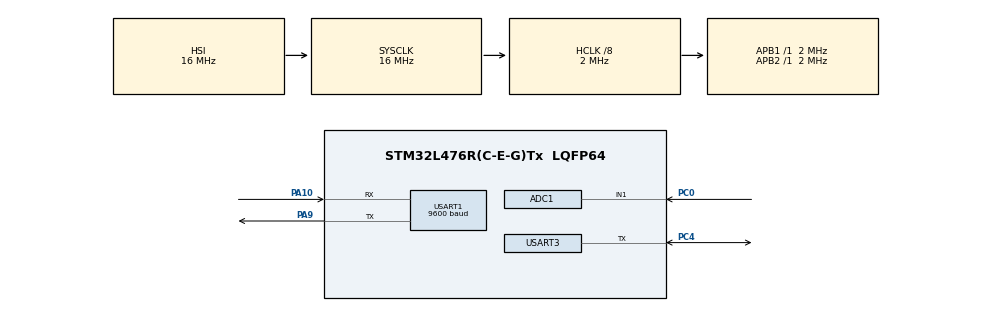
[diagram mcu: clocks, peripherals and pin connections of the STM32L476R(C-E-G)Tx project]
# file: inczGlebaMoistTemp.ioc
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ADC1.Channel-0\#ChannelRegularConversion=ADC_CHANNEL_1
ADC1.NbrOfConversionFlag=1
ADC1.OffsetNumber-0\#ChannelRegularConversion=ADC_OFFSET_NONE
ADC1.Rank-0\#ChannelRegularConversion=1
ADC1.SamplingTime-0\#ChannelRegularConversion=ADC_SAMPLETIME_2CYCLES_5
ADC1.master=1
Mcu.Family=STM32L4
Mcu.Name=STM32L476R(C-E-G)Tx
Mcu.Package=LQFP64
NVIC.PriorityGroup=NVIC_PRIORITYGROUP_4
NVIC.RTC_WKUP_IRQn=true\:0\:0\:false\:false\:true\:true\:true\:true
PA10.Mode=Asynchronous
PA10.Signal=USART1_RX
PA13\ (JTMS-SWDIO).Mode=Serial_Wire
PA13\ (JTMS-SWDIO).Signal=SYS_JTMS-SWDIO
PA14\ (JTCK-SWCLK).Mode=Serial_Wire
PA14\ (JTCK-SWCLK).Signal=SYS_JTCK-SWCLK
PA9.Mode=Asynchronous
PA9.Signal=USART1_TX
PC0.Signal=ADCx_IN1
PC14-OSC32_IN\ (PC14).Mode=LSE-External-Oscillator
PC14-OSC32_IN\ (PC14).Signal=RCC_OSC32_IN
PC15-OSC32_OUT\ (PC15).Mode=LSE-External-Oscillator
PC15-OSC32_OUT\ (PC15).Signal=RCC_OSC32_OUT
PC4.GPIO_ModeDefaultPP=GPIO_MODE_AF_OD
PC4.Mode=Half_duplex(single_wire_mode)
PC4.Signal=USART3_TX
ProjectManager.HeapSize=0x200
ProjectManager.StackSize=0x400
ProjectManager.TargetToolchain=STM32CubeIDE
RCC.ADCFreq_Value=32000000
RCC.AHBCLKDivider=RCC_SYSCLK_DIV8
RCC.AHBFreq_Value=2000000
RCC.APB1Freq_Value=2000000
RCC.APB1TimFreq_Value=2000000
RCC.APB2Freq_Value=2000000
RCC.APB2TimFreq_Value=2000000
RCC.CortexFreq_Value=2000000
RCC.HCLKFreq_Value=2000000
RCC.HSE_VALUE=8000000
RCC.HSI_VALUE=16000000
RCC.MSI_VALUE=4000000
RCC.PLLN=16
RCC.PLLSAI1N=16
RCC.RTCClockSelection=RCC_RTCCLKSOURCE_LSE
RCC.SYSCLKFreq_VALUE=16000000
RCC.SYSCLKSource=RCC_SYSCLKSOURCE_HSI
RCC.USBFreq_Value=32000000
RCC.VCOOutputFreq_Value=64000000
RTC.WakeUpClock-WakeUp=RTC_WAKEUPCLOCK_CK_SPRE_16BITS
SH.ADCx_IN1.0=ADC1_IN1,IN1-Single-Ended
USART1.BaudRate=9600
USART1.VirtualMode-Asynchronous=VM_ASYNC
USART3.BaudRate=9600
USART3.OverrunDisableParam=ADVFEATURE_OVERRUN_DISABLE
USART3.VirtualMode-Half_duplex(single_wire_mode)=VM_ASYNC
VP_RTC_VS_RTC_Activate.Mode=RTC_Enabled
VP_RTC_VS_RTC_WakeUp_intern.Mode=WakeUp
board=custom

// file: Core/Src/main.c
/* USER CODE BEGIN Header */
/**
  ******************************************************************************
  * @file           : main.c
  * @brief          : Main program body
  ******************************************************************************
  * @attention
  *
  * Copyright (c) 2022 STMicroelectronics.
  * All rights reserved.
  *
  * This software is licensed under terms that can be found in the LICENSE file
  * in the root directory of this software component.
  * If no LICENSE file comes with this software, it is provided AS-IS.
  *
  ******************************************************************************
  */
/* USER CODE END Header */
#include "main.h"

/* USER CODE BEGIN Includes */
#include <stdio.h>
#include <string.h>

/* USER CODE END Includes */

 ADC_HandleTypeDef hadc1;

RTC_HandleTypeDef hrtc;

UART_HandleTypeDef huart1;
UART_HandleTypeDef huart3;

void SystemClock_Config(void);
static void MX_GPIO_Init(void);
static void MX_ADC1_Init(void);
static void MX_USART3_UART_Init(void);
static void MX_RTC_Init(void);
static void MX_USART1_UART_Init(void);

/* USER CODE BEGIN 0 */
long map(long x, long in_min, long in_max, long out_min, long out_max)
{
  return (x - in_min) * (out_max - out_min) / (in_max - in_min) + out_min;
}

int __io_putchar(int ch)
{
 HAL_UART_Transmit(&huart1, (uint8_t*)&ch, 1, HAL_MAX_DELAY);
 return 1;
}

static void set_baudrate(uint32_t baudrate)
{
  huart3.Instance = USART3;
  huart3.Init.BaudRate = baudrate;
  huart3.Init.WordLength = UART_WORDLENGTH_8B;
  huart3.Init.StopBits = UART_STOPBITS_1;
  huart3.Init.Parity = UART_PARITY_NONE;
  huart3.Init.Mode = UART_MODE_TX_RX;
  huart3.Init.HwFlowCtl = UART_HWCONTROL_NONE;
  huart3.Init.OverSampling = UART_OVERSAMPLING_16;
  huart3.Init.OneBitSampling = UART_ONE_BIT_SAMPLE_DISABLE;
  huart3.AdvancedInit.AdvFeatureInit = UART_ADVFEATURE_NO_INIT;
  huart3.AdvancedInit.OverrunDisable = UART_ADVFEATURE_OVERRUN_DISABLE;

  if (HAL_HalfDuplex_Init(&huart3) != HAL_OK)
  {
    Error_Handler();
  }
}

HAL_StatusTypeDef wire_reset(void)
{
  uint8_t data_out = 0xF0;
  uint8_t data_in = 0;

  set_baudrate(9600);
  HAL_UART_Transmit(&huart3, &data_out, 1, HAL_MAX_DELAY);
  HAL_UART_Receive(&huart3, &data_in, 1, HAL_MAX_DELAY);
  set_baudrate(115200);

  if (data_in != 0xF0)
    return HAL_OK;
  else
    return HAL_ERROR;
}

static int read_bit(void)
{
  uint8_t data_out = 0xFF;
  uint8_t data_in = 0;
  HAL_UART_Transmit(&huart3, &data_out, 1, HAL_MAX_DELAY);
  HAL_UART_Receive(&huart3, &data_in, 1, HAL_MAX_DELAY);

  return data_in & 0x01;
}

uint8_t wire_read(void)
{
  uint8_t value = 0;
  int i;
  for (i = 0; i < 8; i++) {
    value >>= 1;
    if (read_bit())
      value |= 0x80;
  }
  return value;
}

static void write_bit(int value)
{
  if (value) {
      uint8_t data_out = 0xff;
    HAL_UART_Transmit(&huart3, &data_out, 1, HAL_MAX_DELAY);
  } else {
      uint8_t data_out = 0x0;
    HAL_UART_Transmit(&huart3, &data_out, 1, HAL_MAX_DELAY);
  }
}

void wire_write(uint8_t byte)
{
  int i;
  for (i = 0; i < 8; i++) {
    write_bit(byte & 0x01);
    byte >>= 1;
  }
}

static uint8_t byte_crc(uint8_t crc, uint8_t byte)
{
  int i;
  for (i = 0; i < 8; i++) {
    uint8_t b = crc ^ byte;
    crc >>= 1;
    if (b & 0x01)
      crc ^= 0x8c;
    byte >>= 1;
  }
  return crc;
}

uint8_t wire_crc(const uint8_t* data, int len)
{
  int i;
    uint8_t crc = 0;

    for (i = 0; i < len; i++)
      crc = byte_crc(crc, data[i]);

    return crc;
}

#define DS18B20_ROM_CODE_SIZE		8
#define DS18B20_SCRATCHPAD_SIZE    9

#define DS18B20_READ_ROM           0x33
#define DS18B20_MATCH_ROM          0x55
#define DS18B20_SKIP_ROM           0xCC

#define DS18B20_CONVERT_T          0x44
#define DS18B20_READ_SCRATCHPAD    0xBE

HAL_StatusTypeDef ds18b20_init(void)
{
  return wire_init();
}

HAL_StatusTypeDef ds18b20_read_address(uint8_t* rom_code)
{
  int i;
  uint8_t crc;

  if (wire_reset() != HAL_OK)
    return HAL_ERROR;

  wire_write(DS18B20_READ_ROM);

  for (i = 0; i < DS18B20_ROM_CODE_SIZE; i++)
    rom_code[i] = wire_read();

  crc = wire_crc(rom_code, DS18B20_ROM_CODE_SIZE - 1);
  if (rom_code[DS18B20_ROM_CODE_SIZE - 1] == crc)
    return HAL_OK;
  else
    return HAL_ERROR;
}

static HAL_StatusTypeDef send_cmd(const uint8_t* rom_code, uint8_t cmd)
{
  int i;

  if (wire_reset() != HAL_OK)
    return HAL_ERROR;

  if (!rom_code) {
    wire_write(DS18B20_SKIP_ROM);
  } else {
    wire_write(DS18B20_MATCH_ROM);
    for (i = 0; i < DS18B20_ROM_CODE_SIZE; i++)
      wire_write(rom_code[i]);
  }
  wire_write(cmd);
  return HAL_OK;
}

HAL_StatusTypeDef ds18b20_start_measure(const uint8_t* rom_code)
{
  return send_cmd(rom_code, DS18B20_CONVERT_T);
}

static HAL_StatusTypeDef ds18b20_read_scratchpad(const uint8_t* rom_code, uint8_t* scratchpad)
{
  int i;
  uint8_t crc;

  if (send_cmd(rom_code, DS18B20_READ_SCRATCHPAD) != HAL_OK)
    return HAL_ERROR;

  for (i = 0; i < DS18B20_SCRATCHPAD_SIZE; i++)
    scratchpad[i] = wire_read();

  crc = wire_crc(scratchpad, DS18B20_SCRATCHPAD_SIZE - 1);
  if (scratchpad[DS18B20_SCRATCHPAD_SIZE - 1] == crc)
    return HAL_OK;
  else
    return HAL_ERROR;
}

float ds18b20_get_temp(const uint8_t* rom_code)
{
  uint8_t scratchpad[DS18B20_SCRATCHPAD_SIZE];
  int16_t temp;

  if (ds18b20_read_scratchpad(rom_code, scratchpad) != HAL_OK)
    return 85.0f;

  memcpy(&temp, &scratchpad[0], sizeof(temp));

  return temp / 16.0f;
}

/* USER CODE END 0 */

int main(void)
{
  /* USER CODE BEGIN 1 */
	uint16_t inputValueMoisture;
	uint16_t inputValueTemp;
	uint16_t percent;
	const uint16_t dry = 2490;
	const uint16_t wet = 1531;

  /* USER CODE END 1 */

  /* MCU Configuration--------------------------------------------------------*/

  /* Reset of all peripherals, Initializes the Flash interface and the Systick. */
  HAL_Init();

  /* Configure the system clock */
  SystemClock_Config();

  /* Initialize all configured peripherals */
  MX_GPIO_Init();
  MX_ADC1_Init();
  MX_USART3_UART_Init();
  MX_RTC_Init();
  MX_USART1_UART_Init();
  /* USER CODE BEGIN 2 */
  int connection_iter = 0;
  HAL_ADCEx_Calibration_Start(&hadc1, ADC_SINGLE_ENDED);
  if(HAL_RTCEx_SetWakeUpTimer_IT(&hrtc, 3600, RTC_WAKEUPCLOCK_CK_SPRE_16BITS) != HAL_OK)
   {
   Error_Handler();
   }
  /* USER CODE END 2 */

  /* Infinite loop */
  /* USER CODE BEGIN WHILE */
  while (1)
  {
	  ds18b20_start_measure(NULL);
	  HAL_Delay(750);

	  HAL_ADC_Start(&hadc1);

	  HAL_ADC_PollForConversion(&hadc1, HAL_MAX_DELAY);
	  inputValueMoisture = HAL_ADC_GetValue(&hadc1);
	  percent = map(inputValueMoisture, wet, dry, 100, 0);

	  float temperature = ds18b20_get_temp(NULL);
	  if(percent > 100){
		  percent = 0;
	  }
	  //printf("Moisture of soil is %d %%, temperature is %.1f*C \n", percent, temp);

	  if(connection_iter < 1) {
	    		/* Connection */
	    		do {
	    			/* TX
	    				AT+ID=DevEui
	    			*/

	    			printf("AT+ID=DevEui\r\n");
	    			HAL_Delay(100);
	    			/* RX
	    				+ID: DevEui, 2C:F7:F1:20:24:90:07:11
	    			*/
	    			/* TX
	    				AT+ID=AppEui
	    			*/
	    			printf("AT+ID=AppEui\r\n");
	    			HAL_Delay(100);
	    			/* RX
	    				+ID: AppEui, 00:00:00:00:00:00:00:00
	    			*/
	    			/* TX
	    				AT+DR=EU868
	    			*/
	    			printf("AT+DR=EU868\r\n"); // frequency 868
	    			HAL_Delay(100);
	    			/* RX
	    				+DR: EU868
	    			*/
	    			/* Tx
	    				AT+CH=NUM,0-2
	    			*/
	    			printf("AT+CH=NUM,0-2\r\n"); // channel
	    			HAL_Delay(100);
	    			/* RX
	    				+CH: NUM, 0-2
	    			*/
	    			/* Tx
	    				AT+MODE=LWOTAA
	    			*/
	    			printf("AT+MODE=LWOTAA\r\n");
	    			HAL_Delay(100);
	    			/* RX
	    				+MODE: LWOTAA
	    			*/
	    			/* Tx
	    				AT+KEY=APPKEY
	    			*/
	    			printf("AT+KEY=APPKEY,\"402A1CF34012B797D09BF245931733D2\"\r\n");
	    			HAL_Delay(100);
	    			/* RX
	    				+KEY: APPKEY B71DED6CDA06912D9800C1031FBC5828
	    			*/
	    			/* Tx
	    				AT+ID
	    			*/
	    			printf("AT+ID\r\n");
	    			HAL_Delay(100);
	    			/* RX
	    				+ID: DevAddr, 24:90:07:11
	    				+ID: DevEui, 2C:F7:F1:20:24:90:07:11
	    				+ID: AppEui, 00:00:00:00:00:00:00:00
	    			*/
	    			/* Tx
	    				AT+JOIN
	    			*/
	    			printf("AT+JOIN\r\n");
	    			HAL_Delay(10000);
	    			/* RX
	    				+JOIN: Start
	    				+JOIN: NORMAL
	    				+JOIN: Network joined
	    				+JOIN: NetID 000013 DevAddr 26:01:5F:66
	    				+JOIN: Done
	    			*/

	    			connection_iter++;

	    		}
	    		while (connection_iter < 1);
	    	}

	  int soilhumi = percent;
	  int soiltemp = temperature * 10;

	    	//printf("AT+MSG=%f_%f\r\n", temp, humi);
	  printf("AT+MSG=%03d_%03d\r\n", soiltemp, soilhumi);

	  HAL_Delay(10);

	  HAL_PWR_EnterSTANDBYMode();

    /* USER CODE END WHILE */

  }
}

void SystemClock_Config(void)
{
  RCC_OscInitTypeDef RCC_OscInitStruct = {0};
  RCC_ClkInitTypeDef RCC_ClkInitStruct = {0};

  /** Configure the main internal regulator output voltage
  */
  if (HAL_PWREx_ControlVoltageScaling(PWR_REGULATOR_VOLTAGE_SCALE1) != HAL_OK)
  {
    Error_Handler();
  }

  /** Configure LSE Drive Capability
  */
  HAL_PWR_EnableBkUpAccess();
  __HAL_RCC_LSEDRIVE_CONFIG(RCC_LSEDRIVE_LOW);

  /** Initializes the RCC Oscillators according to the specified parameters
  * in the RCC_OscInitTypeDef structure.
  */
  RCC_OscInitStruct.OscillatorType = RCC_OSCILLATORTYPE_HSI|RCC_OSCILLATORTYPE_LSE
                              |RCC_OSCILLATORTYPE_MSI;
  RCC_OscInitStruct.LSEState = RCC_LSE_ON;
  RCC_OscInitStruct.HSIState = RCC_HSI_ON;
  RCC_OscInitStruct.HSICalibrationValue = RCC_HSICALIBRATION_DEFAULT;
  RCC_OscInitStruct.MSIState = RCC_MSI_ON;
  RCC_OscInitStruct.MSICalibrationValue = 0;
  RCC_OscInitStruct.MSIClockRange = RCC_MSIRANGE_6;
  RCC_OscInitStruct.PLL.PLLState = RCC_PLL_NONE;
  if (HAL_RCC_OscConfig(&RCC_OscInitStruct) != HAL_OK)
  {
    Error_Handler();
  }

  /** Initializes the CPU, AHB and APB buses clocks
  */
  RCC_ClkInitStruct.ClockType = RCC_CLOCKTYPE_HCLK|RCC_CLOCKTYPE_SYSCLK
                              |RCC_CLOCKTYPE_PCLK1|RCC_CLOCKTYPE_PCLK2;
  RCC_ClkInitStruct.SYSCLKSource = RCC_SYSCLKSOURCE_HSI;
  RCC_ClkInitStruct.AHBCLKDivider = RCC_SYSCLK_DIV8;
  RCC_ClkInitStruct.APB1CLKDivider = RCC_HCLK_DIV1;
  RCC_ClkInitStruct.APB2CLKDivider = RCC_HCLK_DIV1;

  if (HAL_RCC_ClockConfig(&RCC_ClkInitStruct, FLASH_LATENCY_0) != HAL_OK)
  {
    Error_Handler();
  }

  /** Enable MSI Auto calibration
  */
  HAL_RCCEx_EnableMSIPLLMode();
}

static void MX_ADC1_Init(void)
{

  ADC_MultiModeTypeDef multimode = {0};
  ADC_ChannelConfTypeDef sConfig = {0};

  /** Common config
  */
  hadc1.Instance = ADC1;
  hadc1.Init.ClockPrescaler = ADC_CLOCK_ASYNC_DIV1;
  hadc1.Init.Resolution = ADC_RESOLUTION_12B;
  hadc1.Init.DataAlign = ADC_DATAALIGN_RIGHT;
  hadc1.Init.ScanConvMode = ADC_SCAN_DISABLE;
  hadc1.Init.EOCSelection = ADC_EOC_SINGLE_CONV;
  hadc1.Init.LowPowerAutoWait = DISABLE;
  hadc1.Init.ContinuousConvMode = DISABLE;
  hadc1.Init.NbrOfConversion = 1;
  hadc1.Init.DiscontinuousConvMode = DISABLE;
  hadc1.Init.ExternalTrigConv = ADC_SOFTWARE_START;
  hadc1.Init.ExternalTrigConvEdge = ADC_EXTERNALTRIGCONVEDGE_NONE;
  hadc1.Init.DMAContinuousRequests = DISABLE;
  hadc1.Init.Overrun = ADC_OVR_DATA_PRESERVED;
  hadc1.Init.OversamplingMode = DISABLE;
  if (HAL_ADC_Init(&hadc1) != HAL_OK)
  {
    Error_Handler();
  }

  /** Configure the ADC multi-mode
  */
  multimode.Mode = ADC_MODE_INDEPENDENT;
  if (HAL_ADCEx_MultiModeConfigChannel(&hadc1, &multimode) != HAL_OK)
  {
    Error_Handler();
  }

  /** Configure Regular Channel
  */
  sConfig.Channel = ADC_CHANNEL_1;
  sConfig.Rank = ADC_REGULAR_RANK_1;
  sConfig.SamplingTime = ADC_SAMPLETIME_2CYCLES_5;
  sConfig.SingleDiff = ADC_SINGLE_ENDED;
  sConfig.OffsetNumber = ADC_OFFSET_NONE;
  sConfig.Offset = 0;
  if (HAL_ADC_ConfigChannel(&hadc1, &sConfig) != HAL_OK)
  {
    Error_Handler();
  }

}

static void MX_RTC_Init(void)
{

  /** Initialize RTC Only
  */
  hrtc.Instance = RTC;
  hrtc.Init.HourFormat = RTC_HOURFORMAT_24;
  hrtc.Init.AsynchPrediv = 127;
  hrtc.Init.SynchPrediv = 255;
  hrtc.Init.OutPut = RTC_OUTPUT_DISABLE;
  hrtc.Init.OutPutRemap = RTC_OUTPUT_REMAP_NONE;
  hrtc.Init.OutPutPolarity = RTC_OUTPUT_POLARITY_HIGH;
  hrtc.Init.OutPutType = RTC_OUTPUT_TYPE_OPENDRAIN;
  if (HAL_RTC_Init(&hrtc) != HAL_OK)
  {
    Error_Handler();
  }

}

static void MX_USART1_UART_Init(void)
{

  huart1.Instance = USART1;
  huart1.Init.BaudRate = 9600;
  huart1.Init.WordLength = UART_WORDLENGTH_8B;
  huart1.Init.StopBits = UART_STOPBITS_1;
  huart1.Init.Parity = UART_PARITY_NONE;
  huart1.Init.Mode = UART_MODE_TX_RX;
  huart1.Init.HwFlowCtl = UART_HWCONTROL_NONE;
  huart1.Init.OverSampling = UART_OVERSAMPLING_16;
  huart1.Init.OneBitSampling = UART_ONE_BIT_SAMPLE_DISABLE;
  huart1.AdvancedInit.AdvFeatureInit = UART_ADVFEATURE_NO_INIT;
  if (HAL_UART_Init(&huart1) != HAL_OK)
  {
    Error_Handler();
  }

}

static void MX_USART3_UART_Init(void)
{

  huart3.Instance = USART3;
  huart3.Init.BaudRate = 9600;
  huart3.Init.WordLength = UART_WORDLENGTH_8B;
  huart3.Init.StopBits = UART_STOPBITS_1;
  huart3.Init.Parity = UART_PARITY_NONE;
  huart3.Init.Mode = UART_MODE_TX_RX;
  huart3.Init.HwFlowCtl = UART_HWCONTROL_NONE;
  huart3.Init.OverSampling = UART_OVERSAMPLING_16;
  huart3.Init.OneBitSampling = UART_ONE_BIT_SAMPLE_DISABLE;
  huart3.AdvancedInit.AdvFeatureInit = UART_ADVFEATURE_RXOVERRUNDISABLE_INIT;
  huart3.AdvancedInit.OverrunDisable = UART_ADVFEATURE_OVERRUN_DISABLE;
  if (HAL_HalfDuplex_Init(&huart3) != HAL_OK)
  {
    Error_Handler();
  }

}

static void MX_GPIO_Init(void)
{

  /* GPIO Ports Clock Enable */
  __HAL_RCC_GPIOC_CLK_ENABLE();
  __HAL_RCC_GPIOA_CLK_ENABLE();

}

void Error_Handler(void)
{
  __disable_irq();
  while (1)
  {
  }
}
